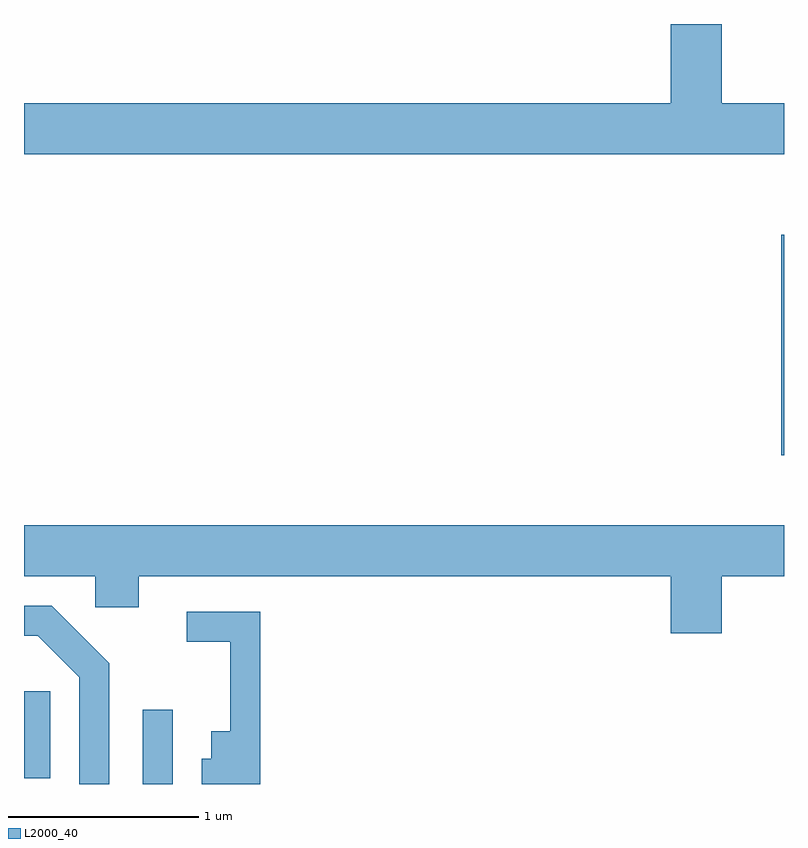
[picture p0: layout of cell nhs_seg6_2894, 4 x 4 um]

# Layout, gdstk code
import gdstk
lib = gdstk.Library(unit=1e-6, precision=1e-09)
def R(c, l, rs):  # rectangles x0, y0, x1, y1
    for r in rs: c.add(gdstk.rectangle(r[:2], r[2:], *l))
def P(c, l, *ps):  # polygons
    for p in ps: c.add(gdstk.Polygon(p, *l))
L2000_40 = (2000, 40)

nhs_seg6_2894 = lib.new_cell('nhs_seg6_2894')
R(nhs_seg6_2894, L2000_40, [(272.236,1662.162,272.394,1662.553), (271.611,1662.191,271.749,1662.649), (275.596,1663.891,275.611,1665.054)])
P(nhs_seg6_2894, L2000_40, [(275.611,1665.744),(275.284,1665.744),(275.284,1666.162),(275.016,1666.162),(275.016,1665.744),(271.611,1665.744),(271.611,1665.476),(275.611,1665.476)],
  [(275.284,1663.256),(275.611,1663.256),(275.611,1663.524),(271.611,1663.524),(271.611,1663.256),(271.986,1663.256),(271.986,1663.091),(272.214,1663.091),(272.214,1663.256),(275.016,1663.256),(275.016,1662.956),(275.284,1662.956)],
  [(272.059,1662.797),(271.757,1663.099),(271.611,1663.099),(271.611,1662.941),(271.684,1662.941),(271.901,1662.724),(271.901,1662.162),(272.059,1662.162)],
  [(272.854,1663.069),(272.468,1663.069),(272.468,1662.911),(272.696,1662.911),(272.696,1662.439),(272.596,1662.439),(272.596,1662.294),(272.546,1662.294),(272.546,1662.162),(272.854,1662.162)])

lib.write_gds('nhs_seg6_2894.gds')
